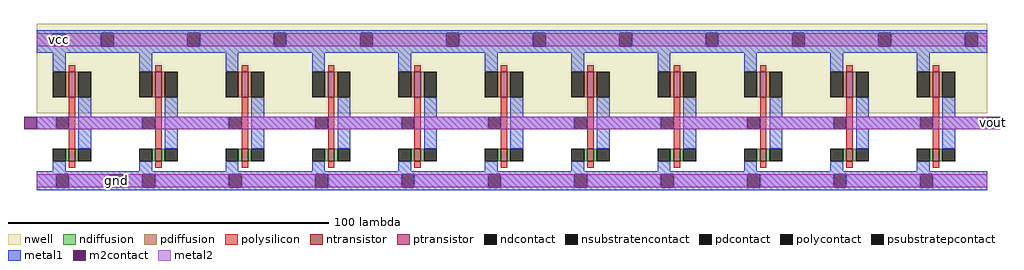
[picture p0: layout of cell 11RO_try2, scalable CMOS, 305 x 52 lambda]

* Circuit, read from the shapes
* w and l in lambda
.subckt 11RO_try2 gnd vcc vout
M1 n1 vout gnd gnd nfet w=4 l=2
M2 n2 n1 gnd gnd nfet w=4 l=2
M3 n3 n2 gnd gnd nfet w=4 l=2
M4 n4 n3 gnd gnd nfet w=4 l=2
M5 n5 n4 gnd gnd nfet w=4 l=2
M6 n6 n5 gnd gnd nfet w=4 l=2
M7 n7 n6 gnd gnd nfet w=4 l=2
M8 n8 n7 gnd gnd nfet w=4 l=2
M9 n9 n8 gnd gnd nfet w=4 l=2
M10 n10 n9 gnd gnd nfet w=4 l=2
M11 vout n10 gnd gnd nfet w=4 l=2
M12 n1 vout vcc vcc pfet w=8 l=2
M13 n2 n1 vcc vcc pfet w=8 l=2
M14 n3 n2 vcc vcc pfet w=8 l=2
M15 n4 n3 vcc vcc pfet w=8 l=2
M16 n5 n4 vcc vcc pfet w=8 l=2
M17 n6 n5 vcc vcc pfet w=8 l=2
M18 n7 n6 vcc vcc pfet w=8 l=2
M19 n8 n7 vcc vcc pfet w=8 l=2
M20 n9 n8 vcc vcc pfet w=8 l=2
M21 n10 n9 vcc vcc pfet w=8 l=2
M22 vout n10 vcc vcc pfet w=8 l=2
.ends

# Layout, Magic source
magic
tech scmos
<< metal2 >>
rect -17 57 -12 61
rect -8 57 280 61
rect -17 31 280 35
rect -17 13 6 17
rect 10 13 280 17
<< m2contact >>
rect -12 57 -8 61
rect -21 31 -17 35
rect 280 31 284 35
rect 6 13 10 17
use invertor  invertor_0 /home/skanda
transform 1 0 -11 0 1 21
box -6 -9 21 43
use invertor  invertor_1
transform 1 0 16 0 1 21
box -6 -9 21 43
use invertor  invertor_2
transform 1 0 43 0 1 21
box -6 -9 21 43
use invertor  invertor_3
transform 1 0 70 0 1 21
box -6 -9 21 43
use invertor  invertor_4
transform 1 0 97 0 1 21
box -6 -9 21 43
use invertor  invertor_5
transform 1 0 124 0 1 21
box -6 -9 21 43
use invertor  invertor_6
transform 1 0 151 0 1 21
box -6 -9 21 43
use invertor  invertor_7
transform 1 0 178 0 1 21
box -6 -9 21 43
use invertor  invertor_8
transform 1 0 205 0 1 21
box -6 -9 21 43
use invertor  invertor_9
transform 1 0 232 0 1 21
box -6 -9 21 43
use invertor  invertor_10
transform 1 0 259 0 1 21
box -6 -9 21 43
<< labels >>
rlabel m2contact -10 59 -10 59 5 vcc
rlabel m2contact 282 33 282 33 7 vout
rlabel m2contact 8 15 8 15 1 gnd
<< end >>

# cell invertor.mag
magic
tech scmos
<< nwell >>
rect -6 15 21 43
<< polysilicon >>
rect 4 28 6 30
rect 4 4 6 20
rect 4 -2 6 0
<< ndiffusion >>
rect 3 0 4 4
rect 6 0 7 4
<< pdiffusion >>
rect 3 20 4 28
rect 6 20 7 28
<< metal1 >>
rect -6 40 21 41
rect -6 36 14 40
rect 18 36 21 40
rect -6 34 21 36
rect -1 28 3 34
rect 7 14 11 20
rect -6 10 0 14
rect 7 10 21 14
rect 7 4 11 10
rect -1 -3 3 0
rect -6 -4 21 -3
rect -6 -8 0 -4
rect 4 -8 21 -4
rect -6 -9 21 -8
<< ntransistor >>
rect 4 0 6 4
<< ptransistor >>
rect 4 20 6 28
<< polycontact >>
rect 0 10 4 14
<< ndcontact >>
rect -1 0 3 4
rect 7 0 11 4
<< pdcontact >>
rect -1 20 3 28
rect 7 20 11 28
<< psubstratepcontact >>
rect 0 -8 4 -4
<< nsubstratencontact >>
rect 14 36 18 40
<< end >>
